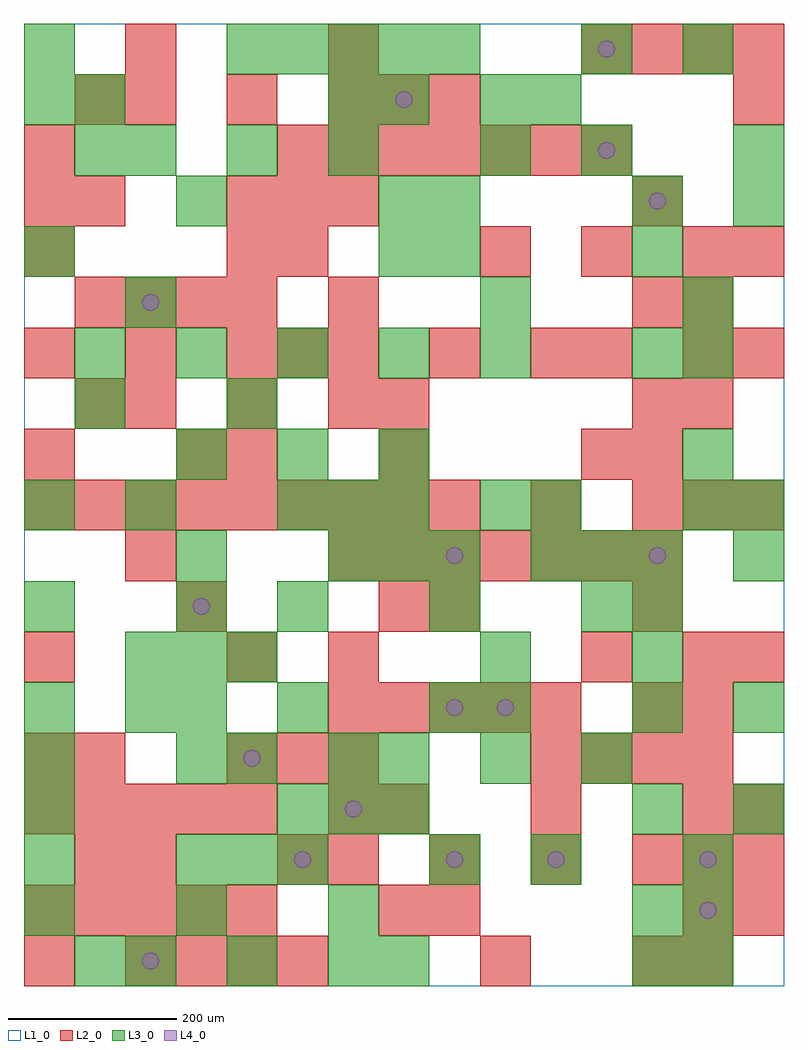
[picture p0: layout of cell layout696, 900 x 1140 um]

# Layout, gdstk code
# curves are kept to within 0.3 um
import gdstk
lib = gdstk.Library(unit=1e-6, precision=1e-09)
def R(c, l, rs):  # rectangles x0, y0, x1, y1
    for r in rs: c.add(gdstk.rectangle(r[:2], r[2:], *l))
def A(c, l, x, y, w, h, nx, ny, dx, dy):  # array of equal rectangles
    R(c, l, [(x+i*dx, y+j*dy, x+i*dx+w, y+j*dy+h) for i in range(nx) for j in range(ny)])
def P(c, l, *ps):  # polygons
    for p in ps: c.add(gdstk.Polygon(p, *l))
L1_0 = (1, 0)
L2_0 = (2, 0)
L3_0 = (3, 0)
L4_0 = (4, 0)

layout696 = lib.new_cell('layout696')
R(layout696, L1_0, [(0,0,900,1140)])
A(layout696, L2_0, 120, 0, 60, 60, 4, 1, 60, 0)
A(layout696, L2_0, 780, 0, 60, 60, 1, 3, 0, 60)
A(layout696, L2_0, 0, 60, 60, 60, 5, 2, 60, 120)
A(layout696, L2_0, 840, 60, 60, 60, 1, 3, 0, 60)
A(layout696, L2_0, 360, 120, 60, 60, 4, 1, 120, 0)
A(layout696, L2_0, 420, 180, 60, 60, 3, 1, 180, 0)
A(layout696, L2_0, 240, 240, 60, 60, 3, 2, 60, 660)
A(layout696, L2_0, 600, 240, 60, 60, 4, 1, 60, 0)
A(layout696, L2_0, 360, 300, 60, 60, 5, 1, 60, 0)
A(layout696, L2_0, 0, 360, 60, 60, 1, 3, 0, 240)
A(layout696, L2_0, 240, 360, 60, 60, 1, 3, 0, 240)
A(layout696, L2_0, 360, 480, 60, 60, 7, 1, 60, 0)
A(layout696, L2_0, 0, 540, 60, 60, 9, 1, 60, 0)
A(layout696, L2_0, 720, 540, 60, 60, 3, 1, 60, 0)
A(layout696, L2_0, 120, 660, 60, 60, 3, 2, 120, 360)
A(layout696, L2_0, 720, 660, 60, 60, 1, 3, 0, 120)
A(layout696, L2_0, 780, 660, 60, 60, 1, 3, 0, 60)
A(layout696, L2_0, 0, 720, 60, 60, 3, 1, 120, 0)
A(layout696, L2_0, 360, 720, 60, 60, 3, 1, 120, 0)
A(layout696, L2_0, 60, 780, 60, 60, 4, 1, 60, 0)
A(layout696, L2_0, 540, 840, 60, 60, 3, 1, 120, 0)
A(layout696, L2_0, 300, 960, 60, 60, 7, 1, 60, 0)
A(layout696, L2_0, 660, 1080, 60, 60, 4, 1, 60, 0)
R(layout696, L2_0, [(0,0,60,60), (540,0,600,60), (720,0,780,60), (420,60,480,120), (480,60,540,120), (60,120,120,180), (120,120,180,180), (300,120,360,180), (360,180,420,240), (0,240,60,300), (60,240,120,300), (720,300,780,360), (780,300,840,360), (360,360,420,420), (660,360,720,420), (780,360,840,420), (840,360,900,420), (180,420,240,480), (420,420,480,480), (480,420,540,480), (720,420,780,480), (120,480,180,540), (600,540,660,600), (180,600,240,660), (420,600,480,660), (660,600,720,660), (720,600,780,660), (60,660,120,720), (420,660,480,720), (300,720,360,780), (660,720,720,780), (840,720,900,780), (360,780,420,840), (300,840,360,900), (840,840,900,900), (0,900,60,960), (60,900,120,960), (0,960,60,1020), (60,1020,120,1080), (420,1020,480,1080), (480,1020,540,1080), (840,1020,900,1080), (120,1080,180,1140), (360,1080,420,1140)])
A(layout696, L3_0, 120, 0, 60, 60, 3, 2, 120, 960)
A(layout696, L3_0, 780, 0, 60, 60, 1, 3, 0, 60)
A(layout696, L3_0, 0, 60, 60, 60, 3, 1, 180, 0)
A(layout696, L3_0, 720, 60, 60, 60, 1, 3, 0, 120)
A(layout696, L3_0, 0, 120, 60, 60, 1, 4, 0, 60)
A(layout696, L3_0, 180, 120, 60, 60, 3, 1, 60, 0)
A(layout696, L3_0, 300, 180, 60, 60, 3, 2, 60, 360)
A(layout696, L3_0, 420, 240, 60, 60, 3, 1, 120, 0)
A(layout696, L3_0, 120, 300, 60, 60, 1, 3, 0, 240)
A(layout696, L3_0, 120, 360, 60, 60, 3, 1, 60, 0)
A(layout696, L3_0, 300, 420, 60, 60, 3, 1, 180, 0)
A(layout696, L3_0, 360, 480, 60, 60, 3, 1, 60, 0)
A(layout696, L3_0, 600, 480, 60, 60, 3, 1, 60, 0)
A(layout696, L3_0, 180, 600, 60, 60, 3, 1, 120, 0)
A(layout696, L3_0, 60, 720, 60, 60, 5, 1, 120, 0)
A(layout696, L3_0, 240, 1080, 60, 60, 5, 1, 60, 0)
R(layout696, L3_0, [(60,0,120,60), (420,0,480,60), (720,0,780,60), (480,120,540,180), (600,120,660,180), (840,180,900,240), (180,240,240,300), (240,240,300,300), (360,240,420,300), (180,300,240,360), (300,300,360,360), (480,300,540,360), (540,300,600,360), (840,300,900,360), (540,360,600,420), (720,360,780,420), (0,420,60,480), (180,420,240,480), (720,420,780,480), (180,480,240,540), (840,480,900,540), (0,540,60,600), (540,540,600,600), (600,540,660,600), (780,540,840,600), (840,540,900,600), (780,600,840,660), (60,660,120,720), (240,660,300,720), (720,720,780,780), (780,720,840,780), (540,780,600,840), (780,780,840,840), (0,840,60,900), (420,840,480,900), (480,840,540,900), (720,840,780,900), (180,900,240,960), (420,900,480,960), (480,900,540,960), (720,900,780,960), (840,900,900,960), (60,960,120,1020), (540,960,600,1020), (660,960,720,1020), (840,960,900,1020), (0,1020,60,1080), (60,1020,120,1080), (360,1020,420,1080), (420,1020,480,1080), (540,1020,600,1080), (600,1020,660,1080), (0,1080,60,1140), (660,1080,720,1140), (780,1080,840,1140)])
P(layout696, L4_0, [(160,30),(159.239,33.827),(157.071,37.071),(153.827,39.239),(150,40),(146.173,39.239),(142.929,37.071),(140.761,33.827),(140,30),(140.761,26.173),(142.929,22.929),(146.173,20.761),(150,20),(153.827,20.761),(157.071,22.929),(159.239,26.173)],
  [(160,810),(159.239,813.827),(157.071,817.071),(153.827,819.239),(150,820),(146.173,819.239),(142.929,817.071),(140.761,813.827),(140,810),(140.761,806.173),(142.929,802.929),(146.173,800.761),(150,800),(153.827,800.761),(157.071,802.929),(159.239,806.173)],
  [(220,450),(219.239,453.827),(217.071,457.071),(213.827,459.239),(210,460),(206.173,459.239),(202.929,457.071),(200.761,453.827),(200,450),(200.761,446.173),(202.929,442.929),(206.173,440.761),(210,440),(213.827,440.761),(217.071,442.929),(219.239,446.173)],
  [(280,270),(279.239,273.827),(277.071,277.071),(273.827,279.239),(270,280),(266.173,279.239),(262.929,277.071),(260.761,273.827),(260,270),(260.761,266.173),(262.929,262.929),(266.173,260.761),(270,260),(273.827,260.761),(277.071,262.929),(279.239,266.173)],
  [(340,150),(339.239,153.827),(337.071,157.071),(333.827,159.239),(330,160),(326.173,159.239),(322.929,157.071),(320.761,153.827),(320,150),(320.761,146.173),(322.929,142.929),(326.173,140.761),(330,140),(333.827,140.761),(337.071,142.929),(339.239,146.173)],
  [(400,210),(399.239,213.827),(397.071,217.071),(393.827,219.239),(390,220),(386.173,219.239),(382.929,217.071),(380.761,213.827),(380,210),(380.761,206.173),(382.929,202.929),(386.173,200.761),(390,200),(393.827,200.761),(397.071,202.929),(399.239,206.173)],
  [(460,1050),(459.239,1053.827),(457.071,1057.071),(453.827,1059.239),(450,1060),(446.173,1059.239),(442.929,1057.071),(440.761,1053.827),(440,1050),(440.761,1046.173),(442.929,1042.929),(446.173,1040.761),(450,1040),(453.827,1040.761),(457.071,1042.929),(459.239,1046.173)],
  [(520,150),(519.239,153.827),(517.071,157.071),(513.827,159.239),(510,160),(506.173,159.239),(502.929,157.071),(500.761,153.827),(500,150),(500.761,146.173),(502.929,142.929),(506.173,140.761),(510,140),(513.827,140.761),(517.071,142.929),(519.239,146.173)],
  [(520,330),(519.239,333.827),(517.071,337.071),(513.827,339.239),(510,340),(506.173,339.239),(502.929,337.071),(500.761,333.827),(500,330),(500.761,326.173),(502.929,322.929),(506.173,320.761),(510,320),(513.827,320.761),(517.071,322.929),(519.239,326.173)],
  [(520,510),(519.239,513.827),(517.071,517.071),(513.827,519.239),(510,520),(506.173,519.239),(502.929,517.071),(500.761,513.827),(500,510),(500.761,506.173),(502.929,502.929),(506.173,500.761),(510,500),(513.827,500.761),(517.071,502.929),(519.239,506.173)],
  [(580,330),(579.239,333.827),(577.071,337.071),(573.827,339.239),(570,340),(566.173,339.239),(562.929,337.071),(560.761,333.827),(560,330),(560.761,326.173),(562.929,322.929),(566.173,320.761),(570,320),(573.827,320.761),(577.071,322.929),(579.239,326.173)],
  [(640,150),(639.239,153.827),(637.071,157.071),(633.827,159.239),(630,160),(626.173,159.239),(622.929,157.071),(620.761,153.827),(620,150),(620.761,146.173),(622.929,142.929),(626.173,140.761),(630,140),(633.827,140.761),(637.071,142.929),(639.239,146.173)],
  [(700,990),(699.239,993.827),(697.071,997.071),(693.827,999.239),(690,1000),(686.173,999.239),(682.929,997.071),(680.761,993.827),(680,990),(680.761,986.173),(682.929,982.929),(686.173,980.761),(690,980),(693.827,980.761),(697.071,982.929),(699.239,986.173)],
  [(700,1110),(699.239,1113.827),(697.071,1117.071),(693.827,1119.239),(690,1120),(686.173,1119.239),(682.929,1117.071),(680.761,1113.827),(680,1110),(680.761,1106.173),(682.929,1102.929),(686.173,1100.761),(690,1100),(693.827,1100.761),(697.071,1102.929),(699.239,1106.173)],
  [(760,510),(759.239,513.827),(757.071,517.071),(753.827,519.239),(750,520),(746.173,519.239),(742.929,517.071),(740.761,513.827),(740,510),(740.761,506.173),(742.929,502.929),(746.173,500.761),(750,500),(753.827,500.761),(757.071,502.929),(759.239,506.173)],
  [(760,930),(759.239,933.827),(757.071,937.071),(753.827,939.239),(750,940),(746.173,939.239),(742.929,937.071),(740.761,933.827),(740,930),(740.761,926.173),(742.929,922.929),(746.173,920.761),(750,920),(753.827,920.761),(757.071,922.929),(759.239,926.173)],
  [(820,90),(819.239,93.827),(817.071,97.071),(813.827,99.239),(810,100),(806.173,99.239),(802.929,97.071),(800.761,93.827),(800,90),(800.761,86.173),(802.929,82.929),(806.173,80.761),(810,80),(813.827,80.761),(817.071,82.929),(819.239,86.173)],
  [(820,150),(819.239,153.827),(817.071,157.071),(813.827,159.239),(810,160),(806.173,159.239),(802.929,157.071),(800.761,153.827),(800,150),(800.761,146.173),(802.929,142.929),(806.173,140.761),(810,140),(813.827,140.761),(817.071,142.929),(819.239,146.173)])

lib.write_gds('layout696.gds')
